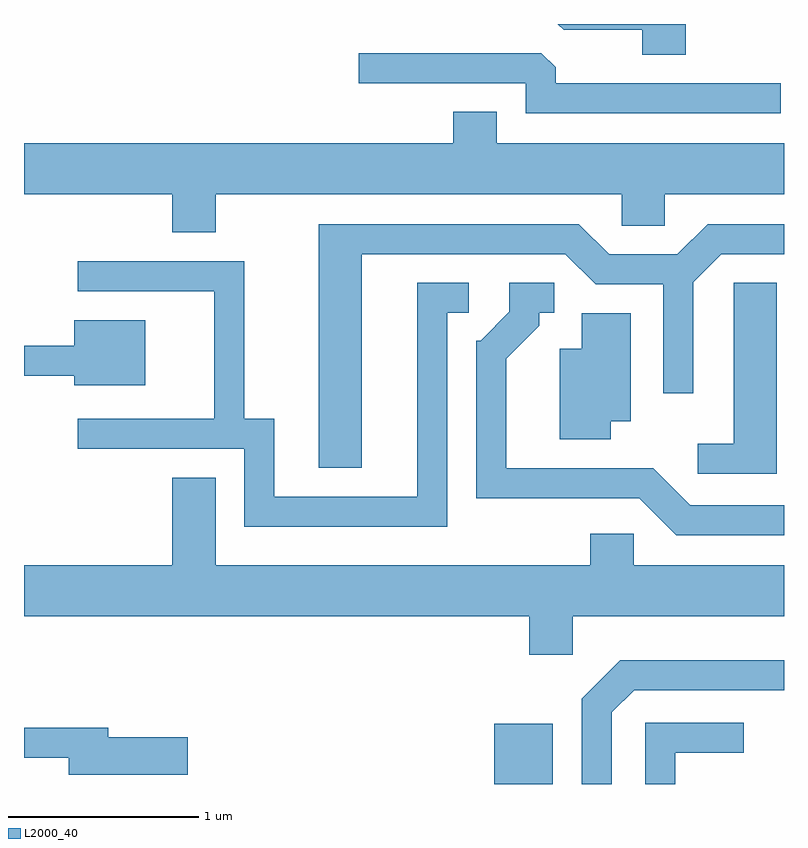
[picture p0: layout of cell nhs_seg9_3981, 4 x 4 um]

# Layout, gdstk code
import gdstk
lib = gdstk.Library(unit=1e-6, precision=1e-09)
def R(c, l, rs):  # rectangles x0, y0, x1, y1
    for r in rs: c.add(gdstk.rectangle(r[:2], r[2:], *l))
def P(c, l, *ps):  # polygons
    for p in ps: c.add(gdstk.Polygon(p, *l))
L2000_40 = (2000, 40)

nhs_seg9_3981 = lib.new_cell('nhs_seg9_3981')
R(nhs_seg9_3981, L2000_40, [(304.086,2046.432,304.394,2046.749), (303.221,2050.431,303.479,2050.432)])
P(nhs_seg9_3981, L2000_40, [(305.094,2050.432),(304.421,2050.432),(304.452,2050.401),(304.866,2050.401),(304.866,2050.271),(305.094,2050.271)],
  [(305.593,2050.119),(304.409,2050.119),(304.409,2050.204),(304.334,2050.279),(303.373,2050.279),(303.373,2050.121),(304.251,2050.121),(304.251,2049.961),(305.593,2049.961)],
  [(302.619,2049.536),(304.756,2049.536),(304.756,2049.371),(304.984,2049.371),(304.984,2049.536),(305.611,2049.536),(305.611,2049.804),(304.099,2049.804),(304.099,2049.969),(303.871,2049.969),(303.871,2049.804),(301.611,2049.804),(301.611,2049.536),(302.391,2049.536),(302.391,2049.336),(302.619,2049.336)],
  [(303.389,2049.221),(304.459,2049.221),(304.619,2049.061),(304.976,2049.061),(304.976,2048.488),(305.134,2048.488),(305.134,2049.074),(305.282,2049.221),(305.611,2049.221),(305.611,2049.379),(305.209,2049.379),(305.049,2049.219),(304.692,2049.219),(304.532,2049.379),(303.161,2049.379),(303.161,2048.096),(303.389,2048.096)],
  [(303.839,2048.911),(303.953,2048.911),(303.953,2049.069),(303.681,2049.069),(303.681,2047.944),(302.929,2047.944),(302.929,2048.354),(302.769,2048.354),(302.769,2049.184),(301.893,2049.184),(301.893,2049.026),(302.611,2049.026),(302.611,2048.354),(301.893,2048.354),(301.893,2048.196),(302.771,2048.196),(302.771,2047.786),(303.839,2047.786)],
  [(305.611,2047.899),(305.117,2047.899),(304.922,2048.094),(304.149,2048.094),(304.149,2048.669),(304.324,2048.844),(304.324,2048.911),(304.403,2048.911),(304.403,2049.069),(304.166,2049.069),(304.166,2048.917),(304.014,2048.764),(303.991,2048.764),(303.991,2047.936),(304.849,2047.936),(305.044,2047.741),(305.611,2047.741)],
  [(305.574,2049.069),(305.346,2049.069),(305.346,2048.224),(305.158,2048.224),(305.158,2048.066),(305.574,2048.066)],
  [(304.699,2048.341),(304.804,2048.341),(304.804,2048.909),(304.546,2048.909),(304.546,2048.724),(304.431,2048.724),(304.431,2048.246),(304.699,2048.246)],
  [(302.249,2048.874),(301.876,2048.874),(301.876,2048.739),(301.611,2048.739),(301.611,2048.581),(301.876,2048.581),(301.876,2048.531),(302.249,2048.531)],
  [(304.499,2047.316),(305.611,2047.316),(305.611,2047.584),(304.819,2047.584),(304.819,2047.749),(304.591,2047.749),(304.591,2047.584),(302.619,2047.584),(302.619,2048.044),(302.391,2048.044),(302.391,2047.584),(301.611,2047.584),(301.611,2047.316),(304.271,2047.316),(304.271,2047.111),(304.499,2047.111)],
  [(304.704,2046.809),(304.822,2046.926),(305.611,2046.926),(305.611,2047.084),(304.749,2047.084),(304.546,2046.882),(304.546,2046.432),(304.704,2046.432)],
  [(305.039,2046.596),(305.398,2046.596),(305.398,2046.754),(304.881,2046.754),(304.881,2046.432),(305.039,2046.432)],
  [(302.474,2046.679),(302.054,2046.679),(302.054,2046.729),(301.611,2046.729),(301.611,2046.571),(301.846,2046.571),(301.846,2046.481),(302.474,2046.481)])

lib.write_gds('nhs_seg9_3981.gds')
